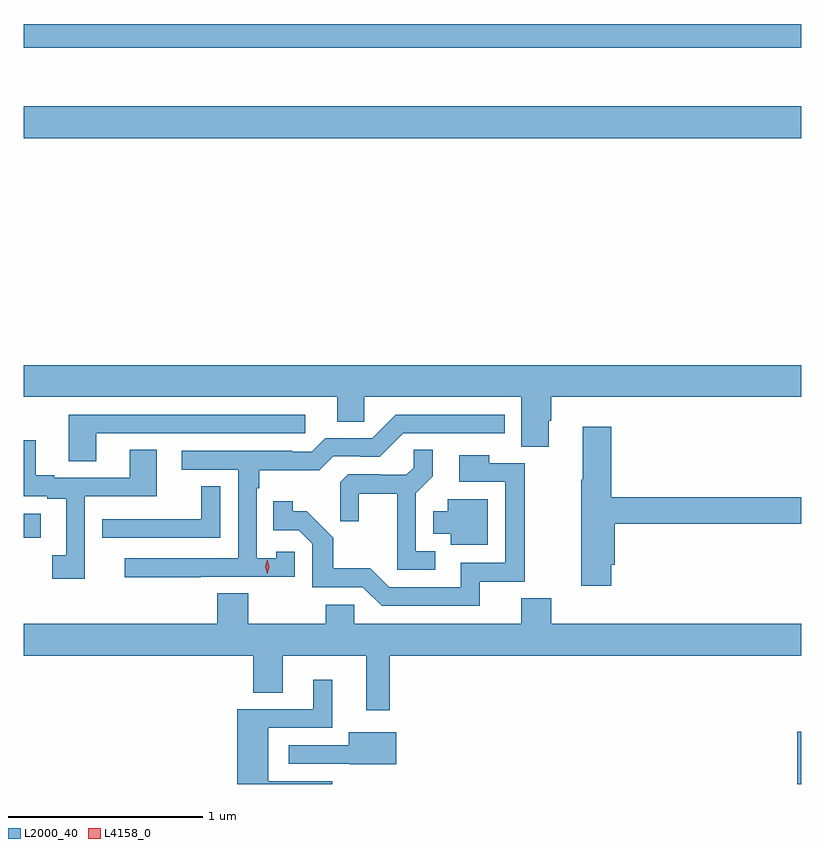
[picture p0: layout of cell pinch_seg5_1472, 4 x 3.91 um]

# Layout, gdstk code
import gdstk
lib = gdstk.Library(unit=1e-6, precision=1e-09)
def R(c, l, rs):  # rectangles x0, y0, x1, y1
    for r in rs: c.add(gdstk.rectangle(r[:2], r[2:], *l))
def P(c, l, *ps):  # polygons
    for p in ps: c.add(gdstk.Polygon(p, *l))
L2000_40 = (2000, 40)
L4158_0 = (4158, 0)

pinch_seg5_1472 = lib.new_cell('pinch_seg5_1472')
R(pinch_seg5_1472, L2000_40, [(328.958,858.764,328.979,859.033), (324.979,860.031,325.066,860.155), (324.979,862.088,328.979,862.252), (324.979,862.554,328.979,862.675)])
P(pinch_seg5_1472, L2000_40, [(327.679,860.634),(327.692,860.634),(327.692,860.756),(328.979,860.756),(328.979,860.92),(324.979,860.92),(324.979,860.756),(326.591,860.756),(326.591,860.629),(326.73,860.629),(326.73,860.756),(327.539,860.756),(327.539,860.5),(327.679,860.5)],
  [(325.889,859.83),(326.373,859.83),(326.373,859.959),(326.277,859.959),(326.277,859.927),(326.178,859.927),(326.178,860.285),(326.191,860.285),(326.191,860.378),(326.498,860.378),(326.571,860.451),(326.71,860.451),(326.71,860.448),(326.811,860.448),(326.931,860.568),(327.454,860.568),(327.454,860.664),(326.892,860.664),(326.772,860.544),(326.529,860.544),(326.46,860.475),(326.36,860.475),(326.36,860.478),(325.791,860.478),(325.791,860.382),(326.082,860.382),(326.082,859.926),(325.497,859.926),(325.497,859.828),(325.889,859.828)],
  [(325.351,860.568),(326.428,860.568),(326.428,860.664),(325.211,860.664),(325.211,860.425),(325.351,860.425)],
  [(328.001,859.893),(328.019,859.893),(328.019,860.104),(328.979,860.104),(328.979,860.24),(328.001,860.24),(328.001,860.602),(327.854,860.602),(327.854,860.329),(327.848,860.329),(327.848,859.784),(328.001,859.784)],
  [(325.293,860.244),(325.663,860.244),(325.663,860.483),(325.523,860.483),(325.523,860.34),(325.135,860.34),(325.135,860.353),(325.039,860.353),(325.039,860.533),(324.979,860.533),(324.979,860.244),(325.1,860.244),(325.1,860.232),(325.196,860.232),(325.196,859.941),(325.125,859.941),(325.125,859.821),(325.293,859.821)],
  [(327.097,859.962),(326.997,859.962),(326.997,860.261),(327.083,860.347),(327.083,860.483),(326.985,860.483),(326.985,860.392),(326.948,860.355),(326.814,860.355),(326.814,860.358),(326.649,860.358),(326.608,860.317),(326.608,860.115),(326.702,860.115),(326.702,860.258),(326.9,860.258),(326.9,859.866),(327.097,859.866)],
  [(327.326,859.806),(327.557,859.806),(327.557,860.415),(327.375,860.415),(327.375,860.455),(327.219,860.455),(327.219,860.319),(327.456,860.319),(327.456,859.902),(327.227,859.902),(327.227,859.776),(326.859,859.776),(326.761,859.875),(326.572,859.875),(326.572,860.03),(326.434,860.168),(326.364,860.168),(326.364,860.218),(326.263,860.218),(326.263,860.07),(326.394,860.07),(326.463,860.001),(326.463,859.776),(326.724,859.776),(326.82,859.68),(327.326,859.68)],
  [(325.989,860.297),(325.891,860.297),(325.891,860.127),(325.495,860.127),(325.495,860.126),(325.383,860.126),(325.383,860.031),(325.989,860.031)],
  [(327.367,860.23),(327.161,860.23),(327.161,860.167),(327.086,860.167),(327.086,860.051),(327.176,860.051),(327.176,859.994),(327.367,859.994)],
  [(326.863,859.424),(328.979,859.424),(328.979,859.588),(327.692,859.588),(327.692,859.721),(327.539,859.721),(327.539,859.588),(326.679,859.588),(326.679,859.686),(326.533,859.686),(326.533,859.588),(326.133,859.588),(326.133,859.745),(325.973,859.745),(325.973,859.588),(324.979,859.588),(324.979,859.424),(326.159,859.424),(326.159,859.234),(326.311,859.234),(326.311,859.424),(326.741,859.424),(326.741,859.143),(326.863,859.143)],
  [(326.566,858.778),(326.236,858.778),(326.236,859.053),(326.566,859.053),(326.566,859.3),(326.468,859.3),(326.468,859.149),(326.078,859.149),(326.078,858.764),(326.566,858.764)],
  [(326.896,859.03),(326.651,859.03),(326.651,858.963),(326.343,858.963),(326.343,858.867),(326.655,858.867),(326.655,858.866),(326.896,858.866)])
P(pinch_seg5_1472, L4158_0, [(326.231,859.845),(326.231,859.845),(326.221,859.881),(326.231,859.917),(326.231,859.917),(326.231,859.917),(326.241,859.881),(326.231,859.845)])

lib.write_gds('pinch_seg5_1472.gds')
